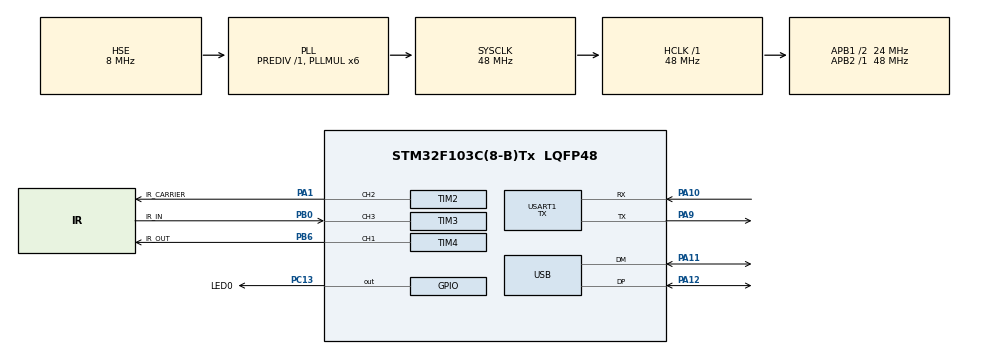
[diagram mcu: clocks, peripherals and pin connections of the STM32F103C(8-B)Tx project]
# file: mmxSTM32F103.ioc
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Dma.Request0=TIM3_CH4/UP
Dma.Request1=TIM4_CH1
Dma.TIM3_CH4/UP.0.Direction=DMA_PERIPH_TO_MEMORY
Dma.TIM3_CH4/UP.0.Instance=DMA1_Channel3
Dma.TIM3_CH4/UP.0.MemDataAlignment=DMA_MDATAALIGN_HALFWORD
Dma.TIM3_CH4/UP.0.MemInc=DMA_MINC_ENABLE
Dma.TIM3_CH4/UP.0.Mode=DMA_NORMAL
Dma.TIM3_CH4/UP.0.PeriphDataAlignment=DMA_PDATAALIGN_HALFWORD
Dma.TIM3_CH4/UP.0.PeriphInc=DMA_PINC_DISABLE
Dma.TIM3_CH4/UP.0.Priority=DMA_PRIORITY_LOW
Dma.TIM4_CH1.1.Direction=DMA_MEMORY_TO_PERIPH
Dma.TIM4_CH1.1.Instance=DMA1_Channel1
Dma.TIM4_CH1.1.MemDataAlignment=DMA_MDATAALIGN_HALFWORD
Dma.TIM4_CH1.1.MemInc=DMA_MINC_ENABLE
Dma.TIM4_CH1.1.Mode=DMA_NORMAL
Dma.TIM4_CH1.1.PeriphDataAlignment=DMA_PDATAALIGN_HALFWORD
Dma.TIM4_CH1.1.PeriphInc=DMA_PINC_DISABLE
Dma.TIM4_CH1.1.Priority=DMA_PRIORITY_LOW
Mcu.Family=STM32F1
Mcu.Name=STM32F103C(8-B)Tx
Mcu.Package=LQFP48
NVIC.DMA1_Channel1_IRQn=true\:0\:0\:false\:false\:true\:false
NVIC.DMA1_Channel3_IRQn=true\:0\:0\:false\:false\:true\:false
NVIC.PriorityGroup=NVIC_PRIORITYGROUP_4
NVIC.USB_LP_CAN1_RX0_IRQn=true\:0\:0\:false\:false\:true\:false
PA1.GPIO_Label=IR_CARRIER
PA1.Signal=S_TIM2_CH2
PA10.Mode=Asynchronous
PA10.Signal=USART1_RX
PA11.Mode=Device
PA11.Signal=USB_DM
PA12.Mode=Device
PA12.Signal=USB_DP
PA13.Mode=Serial_Wire
PA13.Signal=SYS_JTMS-SWDIO
PA14.Mode=Serial_Wire
PA14.Signal=SYS_JTCK-SWCLK
PA9.Mode=Asynchronous
PA9.Signal=USART1_TX
PB0.GPIO_Label=IR_IN
PB0.Signal=S_TIM3_CH3
PB6.GPIO_Label=IR_OUT
PB6.Signal=S_TIM4_CH1
PC13-TAMPER-RTC.GPIO_Label=LED0
PC13-TAMPER-RTC.Signal=GPIO_Output
PD0-OSC_IN.Mode=HSE-External-Oscillator
PD0-OSC_IN.Signal=RCC_OSC_IN
PD1-OSC_OUT.Mode=HSE-External-Oscillator
PD1-OSC_OUT.Signal=RCC_OSC_OUT
ProjectManager.HeapSize=0x800
ProjectManager.StackSize=0x800
ProjectManager.TargetToolchain=MDK-ARM V5
RCC.AHBFreq_Value=48000000
RCC.APB1CLKDivider=RCC_HCLK_DIV2
RCC.APB1Freq_Value=24000000
RCC.APB1TimFreq_Value=48000000
RCC.APB2Freq_Value=48000000
RCC.APB2TimFreq_Value=48000000
RCC.HCLKFreq_Value=48000000
RCC.PLLMUL=RCC_PLL_MUL6
RCC.PLLSourceVirtual=RCC_PLLSOURCE_HSE
RCC.SYSCLKFreq_VALUE=48000000
RCC.SYSCLKSource=RCC_SYSCLKSOURCE_PLLCLK
RCC.USBFreq_Value=48000000
SH.S_TIM2_CH2.0=TIM2_CH2,PWM Generation2 CH2
SH.S_TIM3_CH3.0=TIM3_CH3,Input_Capture3_from_TI3
SH.S_TIM3_CH3.1=TIM3_CH3,Input_Capture4_from_TI3
SH.S_TIM4_CH1.0=TIM4_CH1,PWM Generation1 CH1
TIM2.AutoReloadPreload=TIM_AUTORELOAD_PRELOAD_DISABLE
TIM2.Channel-PWM\ Generation2\ CH2=TIM_CHANNEL_2
TIM2.Period=7
TIM2.Prescaler=157
TIM2.Pulse-PWM\ Generation2\ CH2=2
TIM2.TIM_MasterOutputTrigger=TIM_TRGO_OC1
TIM2.TIM_MasterSlaveMode=TIM_MASTERSLAVEMODE_ENABLE
TIM3.Channel-Input_Capture3_from_TI3=TIM_CHANNEL_3
TIM3.Channel-Input_Capture4_from_TI3=TIM_CHANNEL_4
TIM3.ICPolarity_CH3=TIM_INPUTCHANNELPOLARITY_FALLING
TIM3.Period=65535
TIM3.Prescaler=0
TIM3.TIM_MasterOutputTrigger=TIM_TRGO_OC1
TIM3.TIM_MasterSlaveMode=TIM_MASTERSLAVEMODE_DISABLE
TIM4.AutoReloadPreload=TIM_AUTORELOAD_PRELOAD_ENABLE
TIM4.Channel-PWM\ Generation1\ CH1=TIM_CHANNEL_1
TIM4.Period=0
TIM4.TIM_MasterOutputTrigger=TIM_TRGO_UPDATE
USART1.Mode=MODE_TX
USART1.VirtualMode=VM_ASYNC
USB_DEVICE.CLASS_NAME_FS=CDC
USB_DEVICE.VirtualMode=Cdc
USB_DEVICE.VirtualModeFS=Cdc_FS
VP_TIM2_VS_ClockSourceINT.Mode=Internal
VP_TIM3_VS_ClockSourceITR.Mode=TriggerSource_ITR1
VP_TIM3_VS_ControllerModeClock.Mode=Clock Mode
VP_TIM4_VS_ClockSourceITR.Mode=TriggerSource_ITR1
VP_TIM4_VS_ControllerModeClock.Mode=Clock Mode
VP_USB_DEVICE_VS_USB_DEVICE_CDC_FS.Mode=CDC_FS
board=mmxSTM32F103

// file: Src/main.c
/**
  ******************************************************************************
  * File Name          : main.c
  * Description        : Main program body
  ******************************************************************************
  * This notice applies to any and all portions of this file
  * that are not between comment pairs USER CODE BEGIN and
  * USER CODE END. Other portions of this file, whether
  * inserted by the user or by software development tools
  * are owned by their respective copyright owners.
  *
  * Copyright (c) 2018 STMicroelectronics International N.V.
  * All rights reserved.
  *
  * Redistribution and use in source and binary forms, with or without
  * modification, are permitted, provided that the following conditions are met:
  *
  * 1. Redistribution of source code must retain the above copyright notice,
  *    this list of conditions and the following disclaimer.
  * 2. Redistributions in binary form must reproduce the above copyright notice,
  *    this list of conditions and the following disclaimer in the documentation
  *    and/or other materials provided with the distribution.
  * 3. Neither the name of STMicroelectronics nor the names of other
  *    contributors to this software may be used to endorse or promote products
  *    derived from this software without specific written permission.
  * 4. This software, including modifications and/or derivative works of this
  *    software, must execute solely and exclusively on microcontroller or
  *    microprocessor devices manufactured by or for STMicroelectronics.
  * 5. Redistribution and use of this software other than as permitted under
  *    this license is void and will automatically terminate your rights under
  *    this license.
  *
  * THIS SOFTWARE IS PROVIDED BY STMICROELECTRONICS AND CONTRIBUTORS "AS IS"
  * AND ANY EXPRESS, IMPLIED OR STATUTORY WARRANTIES, INCLUDING, BUT NOT
  * LIMITED TO, THE IMPLIED WARRANTIES OF MERCHANTABILITY, FITNESS FOR A
  * PARTICULAR PURPOSE AND NON-INFRINGEMENT OF THIRD PARTY INTELLECTUAL PROPERTY
  * RIGHTS ARE DISCLAIMED TO THE FULLEST EXTENT PERMITTED BY LAW. IN NO EVENT
  * SHALL STMICROELECTRONICS OR CONTRIBUTORS BE LIABLE FOR ANY DIRECT, INDIRECT,
  * INCIDENTAL, SPECIAL, EXEMPLARY, OR CONSEQUENTIAL DAMAGES (INCLUDING, BUT NOT
  * LIMITED TO, PROCUREMENT OF SUBSTITUTE GOODS OR SERVICES; LOSS OF USE, DATA,
  * OR PROFITS; OR BUSINESS INTERRUPTION) HOWEVER CAUSED AND ON ANY THEORY OF
  * LIABILITY, WHETHER IN CONTRACT, STRICT LIABILITY, OR TORT (INCLUDING
  * NEGLIGENCE OR OTHERWISE) ARISING IN ANY WAY OUT OF THE USE OF THIS SOFTWARE,
  * EVEN IF ADVISED OF THE POSSIBILITY OF SUCH DAMAGE.
  *
  ******************************************************************************
  */
#include "main.h"
#include "stm32f1xx_hal.h"
#include "usb_device.h"

/* USER CODE BEGIN Includes */
//#include <stm32f103xb.h>
#include <stm32f1xx_ll_tim.h>
#include <stm32f1xx_hal_tim.h>
#include <usbd_cdc_if.h>
#include "string.h"
#include "log.h"
#include "IrdaReceive.h"
#include "CmdEngine.h"
/* USER CODE END Includes */

TIM_HandleTypeDef htim2;
TIM_HandleTypeDef htim3;
TIM_HandleTypeDef htim4;
DMA_HandleTypeDef hdma_tim3_ch4_up;
DMA_HandleTypeDef hdma_tim4_ch1;

UART_HandleTypeDef huart1;

/* USER CODE BEGIN PV */
/* Private variables ---------------------------------------------------------*/

/* USER CODE END PV */

void SystemClock_Config(void);
static void MX_GPIO_Init(void);
static void MX_DMA_Init(void);
static void MX_TIM3_Init(void);
static void MX_TIM4_Init(void);
static void MX_TIM2_Init(void);
static void MX_USART1_UART_Init(void);
void HAL_TIM_MspPostInit(TIM_HandleTypeDef *htim);

/* USER CODE BEGIN PFP */
/* Private function prototypes -----------------------------------------------*/
void DriveUSB_DP_low(void);

/* USER CODE END PFP */

int main(void)
{

  /* MCU Configuration----------------------------------------------------------*/

  /* Reset of all peripherals, Initializes the Flash interface and the Systick. */
  HAL_Init();

  /* Configure the system clock */
  SystemClock_Config();

  /* USER CODE BEGIN SysInit */
  DriveUSB_DP_low();
  /* USER CODE END SysInit */

  /* Initialize all configured peripherals */
  MX_GPIO_Init();
  MX_DMA_Init();
  MX_TIM3_Init();
  MX_TIM4_Init();
  MX_TIM2_Init();
  MX_USART1_UART_Init();
  MX_USB_DEVICE_Init();

  /* Infinite loop */
  /* USER CODE BEGIN WHILE */
//  HAL_TIM_Base_Start(&htim2);
//  HAL_TIM_OC_Start(&htim2, TIM_CHANNEL_1);
//  HAL_TIM_PWM_Start(&htim4, TIM_CHANNEL_1);
  HAL_TIM_DMABurst_ReadStop(&htim3, TIM_DMA_CC4);
//    HAL_TIM_IC_Start_DMA(&htim2, TIM_CHANNEL_3, KKK, 200);
//  sendIRdma();
  while (1)
  {
    CmdEngineCheck();
    CDC_CheckSend();
    IrdaReceiveCheck();
    __WFI();
  }
  /* USER CODE END 3 */

}

/** System Clock Configuration
*/
void SystemClock_Config(void)
{

  RCC_OscInitTypeDef RCC_OscInitStruct;
  RCC_ClkInitTypeDef RCC_ClkInitStruct;
  RCC_PeriphCLKInitTypeDef PeriphClkInit;

    /**Initializes the CPU, AHB and APB busses clocks
    */
  RCC_OscInitStruct.OscillatorType = RCC_OSCILLATORTYPE_HSE;
  RCC_OscInitStruct.HSEState = RCC_HSE_ON;
  RCC_OscInitStruct.HSEPredivValue = RCC_HSE_PREDIV_DIV1;
  RCC_OscInitStruct.HSIState = RCC_HSI_ON;
  RCC_OscInitStruct.PLL.PLLState = RCC_PLL_ON;
  RCC_OscInitStruct.PLL.PLLSource = RCC_PLLSOURCE_HSE;
  RCC_OscInitStruct.PLL.PLLMUL = RCC_PLL_MUL6;
  if (HAL_RCC_OscConfig(&RCC_OscInitStruct) != HAL_OK)
  {
    _Error_Handler(__FILE__, __LINE__);
  }

    /**Initializes the CPU, AHB and APB busses clocks
    */
  RCC_ClkInitStruct.ClockType = RCC_CLOCKTYPE_HCLK|RCC_CLOCKTYPE_SYSCLK
                              |RCC_CLOCKTYPE_PCLK1|RCC_CLOCKTYPE_PCLK2;
  RCC_ClkInitStruct.SYSCLKSource = RCC_SYSCLKSOURCE_PLLCLK;
  RCC_ClkInitStruct.AHBCLKDivider = RCC_SYSCLK_DIV1;
  RCC_ClkInitStruct.APB1CLKDivider = RCC_HCLK_DIV2;
  RCC_ClkInitStruct.APB2CLKDivider = RCC_HCLK_DIV1;

  if (HAL_RCC_ClockConfig(&RCC_ClkInitStruct, FLASH_LATENCY_1) != HAL_OK)
  {
    _Error_Handler(__FILE__, __LINE__);
  }

  PeriphClkInit.PeriphClockSelection = RCC_PERIPHCLK_USB;
  PeriphClkInit.UsbClockSelection = RCC_USBCLKSOURCE_PLL;
  if (HAL_RCCEx_PeriphCLKConfig(&PeriphClkInit) != HAL_OK)
  {
    _Error_Handler(__FILE__, __LINE__);
  }

    /**Configure the Systick interrupt time
    */
  HAL_SYSTICK_Config(HAL_RCC_GetHCLKFreq()/1000);

    /**Configure the Systick
    */
  HAL_SYSTICK_CLKSourceConfig(SYSTICK_CLKSOURCE_HCLK);

  /* SysTick_IRQn interrupt configuration */
  HAL_NVIC_SetPriority(SysTick_IRQn, 0, 0);
}

/* TIM2 init function */
static void MX_TIM2_Init(void)
{

  TIM_ClockConfigTypeDef sClockSourceConfig;
  TIM_MasterConfigTypeDef sMasterConfig;
  TIM_OC_InitTypeDef sConfigOC;

  htim2.Instance = TIM2;
  htim2.Init.Prescaler = 157;
  htim2.Init.CounterMode = TIM_COUNTERMODE_UP;
  htim2.Init.Period = 7;
  htim2.Init.ClockDivision = TIM_CLOCKDIVISION_DIV1;
  htim2.Init.AutoReloadPreload = TIM_AUTORELOAD_PRELOAD_DISABLE;
  if (HAL_TIM_Base_Init(&htim2) != HAL_OK)
  {
    _Error_Handler(__FILE__, __LINE__);
  }

  sClockSourceConfig.ClockSource = TIM_CLOCKSOURCE_INTERNAL;
  if (HAL_TIM_ConfigClockSource(&htim2, &sClockSourceConfig) != HAL_OK)
  {
    _Error_Handler(__FILE__, __LINE__);
  }

  if (HAL_TIM_PWM_Init(&htim2) != HAL_OK)
  {
    _Error_Handler(__FILE__, __LINE__);
  }

  sMasterConfig.MasterOutputTrigger = TIM_TRGO_OC1;
  sMasterConfig.MasterSlaveMode = TIM_MASTERSLAVEMODE_ENABLE;
  if (HAL_TIMEx_MasterConfigSynchronization(&htim2, &sMasterConfig) != HAL_OK)
  {
    _Error_Handler(__FILE__, __LINE__);
  }

  sConfigOC.OCMode = TIM_OCMODE_PWM1;
  sConfigOC.Pulse = 2;
  sConfigOC.OCPolarity = TIM_OCPOLARITY_HIGH;
  sConfigOC.OCFastMode = TIM_OCFAST_DISABLE;
  if (HAL_TIM_PWM_ConfigChannel(&htim2, &sConfigOC, TIM_CHANNEL_2) != HAL_OK)
  {
    _Error_Handler(__FILE__, __LINE__);
  }

  HAL_TIM_MspPostInit(&htim2);

}

/* TIM3 init function */
static void MX_TIM3_Init(void)
{

  TIM_SlaveConfigTypeDef sSlaveConfig;
  TIM_MasterConfigTypeDef sMasterConfig;
  TIM_IC_InitTypeDef sConfigIC;

  htim3.Instance = TIM3;
  htim3.Init.Prescaler = 0;
  htim3.Init.CounterMode = TIM_COUNTERMODE_UP;
  htim3.Init.Period = 65535;
  htim3.Init.ClockDivision = TIM_CLOCKDIVISION_DIV1;
  htim3.Init.AutoReloadPreload = TIM_AUTORELOAD_PRELOAD_DISABLE;
  if (HAL_TIM_Base_Init(&htim3) != HAL_OK)
  {
    _Error_Handler(__FILE__, __LINE__);
  }

  if (HAL_TIM_IC_Init(&htim3) != HAL_OK)
  {
    _Error_Handler(__FILE__, __LINE__);
  }

  sSlaveConfig.SlaveMode = TIM_SLAVEMODE_EXTERNAL1;
  sSlaveConfig.InputTrigger = TIM_TS_ITR1;
  if (HAL_TIM_SlaveConfigSynchronization(&htim3, &sSlaveConfig) != HAL_OK)
  {
    _Error_Handler(__FILE__, __LINE__);
  }

  sMasterConfig.MasterOutputTrigger = TIM_TRGO_OC1;
  sMasterConfig.MasterSlaveMode = TIM_MASTERSLAVEMODE_DISABLE;
  if (HAL_TIMEx_MasterConfigSynchronization(&htim3, &sMasterConfig) != HAL_OK)
  {
    _Error_Handler(__FILE__, __LINE__);
  }

  sConfigIC.ICPolarity = TIM_INPUTCHANNELPOLARITY_FALLING;
  sConfigIC.ICSelection = TIM_ICSELECTION_DIRECTTI;
  sConfigIC.ICPrescaler = TIM_ICPSC_DIV1;
  sConfigIC.ICFilter = 0;
  if (HAL_TIM_IC_ConfigChannel(&htim3, &sConfigIC, TIM_CHANNEL_3) != HAL_OK)
  {
    _Error_Handler(__FILE__, __LINE__);
  }

  sConfigIC.ICPolarity = TIM_INPUTCHANNELPOLARITY_RISING;
  sConfigIC.ICSelection = TIM_ICSELECTION_INDIRECTTI;
  if (HAL_TIM_IC_ConfigChannel(&htim3, &sConfigIC, TIM_CHANNEL_4) != HAL_OK)
  {
    _Error_Handler(__FILE__, __LINE__);
  }

}

/* TIM4 init function */
static void MX_TIM4_Init(void)
{

  TIM_SlaveConfigTypeDef sSlaveConfig;
  TIM_MasterConfigTypeDef sMasterConfig;
  TIM_OC_InitTypeDef sConfigOC;

  htim4.Instance = TIM4;
  htim4.Init.Prescaler = 0;
  htim4.Init.CounterMode = TIM_COUNTERMODE_UP;
  htim4.Init.Period = 0;
  htim4.Init.ClockDivision = TIM_CLOCKDIVISION_DIV1;
  htim4.Init.AutoReloadPreload = TIM_AUTORELOAD_PRELOAD_ENABLE;
  if (HAL_TIM_Base_Init(&htim4) != HAL_OK)
  {
    _Error_Handler(__FILE__, __LINE__);
  }

  if (HAL_TIM_PWM_Init(&htim4) != HAL_OK)
  {
    _Error_Handler(__FILE__, __LINE__);
  }

  sSlaveConfig.SlaveMode = TIM_SLAVEMODE_EXTERNAL1;
  sSlaveConfig.InputTrigger = TIM_TS_ITR1;
  if (HAL_TIM_SlaveConfigSynchronization(&htim4, &sSlaveConfig) != HAL_OK)
  {
    _Error_Handler(__FILE__, __LINE__);
  }

  sMasterConfig.MasterOutputTrigger = TIM_TRGO_UPDATE;
  sMasterConfig.MasterSlaveMode = TIM_MASTERSLAVEMODE_DISABLE;
  if (HAL_TIMEx_MasterConfigSynchronization(&htim4, &sMasterConfig) != HAL_OK)
  {
    _Error_Handler(__FILE__, __LINE__);
  }

  sConfigOC.OCMode = TIM_OCMODE_PWM1;
  sConfigOC.Pulse = 0;
  sConfigOC.OCPolarity = TIM_OCPOLARITY_HIGH;
  sConfigOC.OCFastMode = TIM_OCFAST_DISABLE;
  if (HAL_TIM_PWM_ConfigChannel(&htim4, &sConfigOC, TIM_CHANNEL_1) != HAL_OK)
  {
    _Error_Handler(__FILE__, __LINE__);
  }

  HAL_TIM_MspPostInit(&htim4);

}

/* USART1 init function */
static void MX_USART1_UART_Init(void)
{

  huart1.Instance = USART1;
  huart1.Init.BaudRate = 115200;
  huart1.Init.WordLength = UART_WORDLENGTH_8B;
  huart1.Init.StopBits = UART_STOPBITS_1;
  huart1.Init.Parity = UART_PARITY_NONE;
  huart1.Init.Mode = UART_MODE_TX;
  huart1.Init.HwFlowCtl = UART_HWCONTROL_NONE;
  huart1.Init.OverSampling = UART_OVERSAMPLING_16;
  if (HAL_UART_Init(&huart1) != HAL_OK)
  {
    _Error_Handler(__FILE__, __LINE__);
  }

}

static void MX_DMA_Init(void)
{
  /* DMA controller clock enable */
  __HAL_RCC_DMA1_CLK_ENABLE();

  /* DMA interrupt init */
  /* DMA1_Channel1_IRQn interrupt configuration */
  HAL_NVIC_SetPriority(DMA1_Channel1_IRQn, 0, 0);
  HAL_NVIC_EnableIRQ(DMA1_Channel1_IRQn);
  /* DMA1_Channel3_IRQn interrupt configuration */
  HAL_NVIC_SetPriority(DMA1_Channel3_IRQn, 0, 0);
  HAL_NVIC_EnableIRQ(DMA1_Channel3_IRQn);

}

/** Configure pins as
        * Analog
        * Input
        * Output
        * EVENT_OUT
        * EXTI
*/
static void MX_GPIO_Init(void)
{

  GPIO_InitTypeDef GPIO_InitStruct;

  /* GPIO Ports Clock Enable */
  __HAL_RCC_GPIOC_CLK_ENABLE();
  __HAL_RCC_GPIOD_CLK_ENABLE();
  __HAL_RCC_GPIOA_CLK_ENABLE();
  __HAL_RCC_GPIOB_CLK_ENABLE();

  /*Configure GPIO pin Output Level */
  HAL_GPIO_WritePin(LED0_GPIO_Port, LED0_Pin, GPIO_PIN_RESET);

  /*Configure GPIO pin : LED0_Pin */
  GPIO_InitStruct.Pin = LED0_Pin;
  GPIO_InitStruct.Mode = GPIO_MODE_OUTPUT_PP;
  GPIO_InitStruct.Speed = GPIO_SPEED_FREQ_LOW;
  HAL_GPIO_Init(LED0_GPIO_Port, &GPIO_InitStruct);

}

/* USER CODE BEGIN 4 */
static void DriveUSB_DP_low(void)
{
  GPIO_InitTypeDef GPIO_InitStruct;

  __HAL_RCC_GPIOA_CLK_ENABLE();
  /*Configure GPIO pin Output Level */
  HAL_GPIO_WritePin(GPIOA, GPIO_PIN_12, GPIO_PIN_RESET);

  /*Configure GPIO pin : LED0_Pin */
  GPIO_InitStruct.Pin = GPIO_PIN_12;
  GPIO_InitStruct.Mode = GPIO_MODE_OUTPUT_PP;
  GPIO_InitStruct.Speed = GPIO_SPEED_FREQ_LOW;
  HAL_GPIO_Init(GPIOA, &GPIO_InitStruct);

}
/* USER CODE END 4 */

void _Error_Handler(char * file, int line)
{
  while(1)
  {
  }
}

/************************ (C) COPYRIGHT STMicroelectronics *****END OF FILE****/
